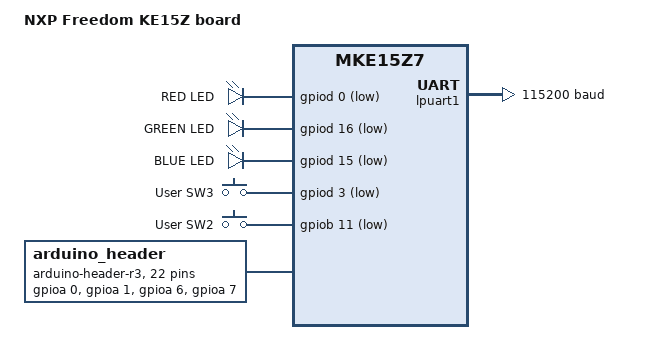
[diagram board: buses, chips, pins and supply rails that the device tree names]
/*
 * Copyright 2024 NXP
 *
 * SPDX-License-Identifier: Apache-2.0
 */

/dts-v1/;

#include <nxp/nxp_ke1xz.dtsi>
#include "frdm_ke15z-pinctrl.dtsi"
#include <zephyr/dt-bindings/gpio/arduino-header-r3.h>
#include <zephyr/dt-bindings/input/input-event-codes.h>

/ {
	model = "NXP Freedom KE15Z board";
	compatible = "nxp,ke15z", "nxp,mke15z7";

	aliases {
		led0 = &green_led;
		led1 = &blue_led;
		led2 = &red_led;
		sw0 = &user_button_0;
		sw1 = &user_button_1;
	};

	chosen {
		zephyr,sram = &sram_u;
		zephyr,flash = &flash0;
		zephyr,console = &lpuart1;
		zephyr,shell-uart = &lpuart1;
	};

	leds {
		compatible = "gpio-leds";
		red_led: led_0 {
			gpios = <&gpiod 0 GPIO_ACTIVE_LOW>;
			label = "RED LED";
		};
		green_led: led_1 {
			gpios = <&gpiod 16 GPIO_ACTIVE_LOW>;
			label = "GREEN LED";
		};
		blue_led: led_2 {
			gpios = <&gpiod 15 GPIO_ACTIVE_LOW>;
			label = "BLUE LED";
		};
	};

	gpio_keys {
		compatible = "gpio-keys";
		user_button_0: button_0 {
			label = "User SW3";
			gpios = <&gpiod 3 GPIO_ACTIVE_LOW>;
			zephyr,code = <INPUT_KEY_0>;
		};
		user_button_1: button_1 {
			label = "User SW2";
			gpios = <&gpiob 11 GPIO_ACTIVE_LOW>;
			zephyr,code = <INPUT_KEY_1>;
		};
	};

	arduino_header: arduino-connector {
		compatible = "arduino-header-r3";
		#gpio-cells = <2>;
		gpio-map-mask = <0xffffffff 0xffffffc0>;
		gpio-map-pass-thru = <0 0x3f>;
		gpio-map = <ARDUINO_HEADER_R3_A0 0 &gpioa 0 0>,
			   <ARDUINO_HEADER_R3_A1 0 &gpioa 1 0>,
			   <ARDUINO_HEADER_R3_A2 0 &gpioa 6 0>,
			   <ARDUINO_HEADER_R3_A3 0 &gpioa 7 0>,
			   <ARDUINO_HEADER_R3_A4 0 &gpioa 2 0>,
			   <ARDUINO_HEADER_R3_A5 0 &gpioa 3 0>,
			   <ARDUINO_HEADER_R3_D0 0 &gpioc 8 0>,
			   <ARDUINO_HEADER_R3_D1 0 &gpioc 9 0>,
			   <ARDUINO_HEADER_R3_D2 0 &gpiod 12 0>,
			   <ARDUINO_HEADER_R3_D3 0 &gpioc 15 0>,
			   <ARDUINO_HEADER_R3_D4 0 &gpioe 9 0>,
			   <ARDUINO_HEADER_R3_D5 0 &gpioc 5 0>,
			   <ARDUINO_HEADER_R3_D6 0 &gpioa 16 0>,
			   <ARDUINO_HEADER_R3_D7 0 &gpioa 17 0>,
			   <ARDUINO_HEADER_R3_D8 0 &gpioe 8 0>,
			   <ARDUINO_HEADER_R3_D9 0 &gpioe 7 0>,
			   <ARDUINO_HEADER_R3_D10 0 &gpioa 15 0>,
			   <ARDUINO_HEADER_R3_D11 0 &gpioe 2 0>,
			   <ARDUINO_HEADER_R3_D12 0 &gpioe 1 0>,
			   <ARDUINO_HEADER_R3_D13 0 &gpioe 0 0>,
			   <ARDUINO_HEADER_R3_D14 0 &gpiod 8 0>,
			   <ARDUINO_HEADER_R3_D15 0 &gpiod 9 0>;
	};
};

&lpuart1 {
	status = "okay";
	current-speed = <115200>;
	pinctrl-0 = <&lpuart1_default>;
	pinctrl-names = "default";
};

&gpiob {
	status = "okay";
};

&gpiod {
	status = "okay";
};
